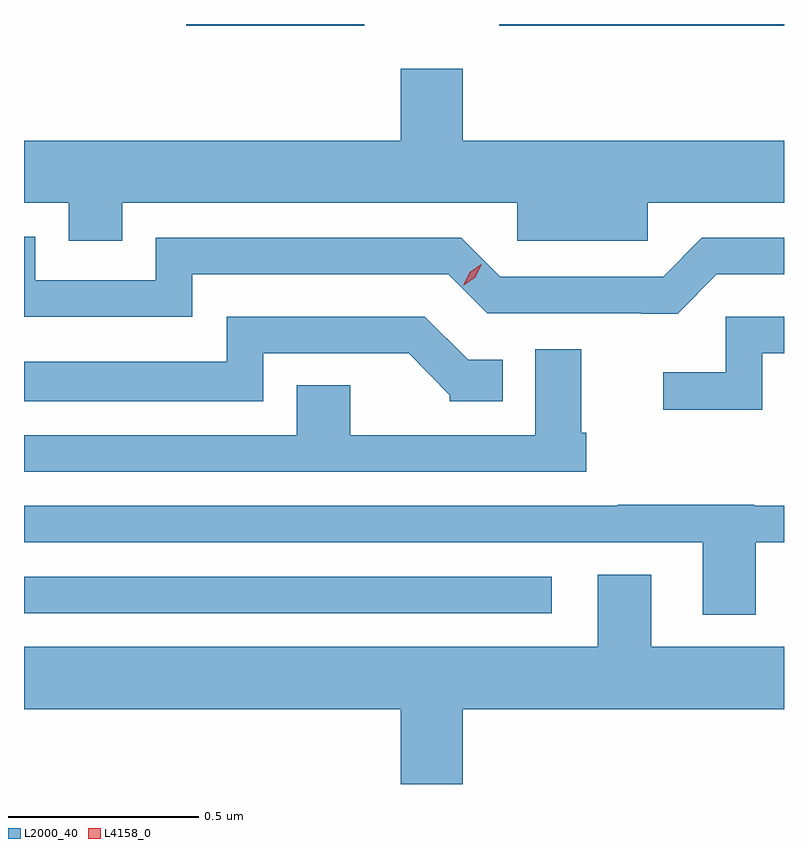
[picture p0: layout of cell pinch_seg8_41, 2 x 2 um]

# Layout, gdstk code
import gdstk
lib = gdstk.Library(unit=1e-6, precision=1e-09)
def R(c, l, rs):  # rectangles x0, y0, x1, y1
    for r in rs: c.add(gdstk.rectangle(r[:2], r[2:], *l))
def P(c, l, *ps):  # polygons
    for p in ps: c.add(gdstk.Polygon(p, *l))
L2000_40 = (2000, 40)
L4158_0 = (4158, 0)

pinch_seg8_41 = lib.new_cell('pinch_seg8_41')
R(pinch_seg8_41, L2000_40, [(967.213,1135.401,968.602,1135.497), (967.64,1136.946,968.108,1136.951), (968.464,1136.946,969.213,1136.951)])
P(pinch_seg8_41, L2000_40, [(967.471,1136.48),(968.511,1136.48),(968.511,1136.381),(968.854,1136.381),(968.854,1136.48),(969.213,1136.48),(969.213,1136.644),(968.368,1136.644),(968.368,1136.833),(968.204,1136.833),(968.204,1136.644),(967.213,1136.644),(967.213,1136.48),(967.331,1136.48),(967.331,1136.381),(967.471,1136.381)],
  [(967.656,1136.292),(968.33,1136.292),(968.432,1136.19),(968.837,1136.19),(968.837,1136.189),(968.933,1136.189),(969.036,1136.292),(969.213,1136.292),(969.213,1136.388),(968.997,1136.388),(968.895,1136.286),(968.466,1136.286),(968.364,1136.388),(967.56,1136.388),(967.56,1136.277),(967.242,1136.277),(967.242,1136.391),(967.213,1136.391),(967.213,1136.181),(967.656,1136.181)],
  [(969.156,1136.085),(969.213,1136.085),(969.213,1136.181),(969.06,1136.181),(969.06,1136.035),(968.895,1136.035),(968.895,1135.936),(969.156,1135.936)],
  [(967.842,1136.085),(968.12,1136.085),(968.12,1136.084),(968.225,1136.084),(968.334,1135.974),(968.334,1135.958),(968.473,1135.958),(968.473,1136.067),(968.382,1136.067),(968.268,1136.181),(967.746,1136.181),(967.746,1136.062),(967.213,1136.062),(967.213,1135.958),(967.842,1135.958)],
  [(968.693,1135.876),(968.68,1135.876),(968.68,1136.095),(968.558,1136.095),(968.558,1135.869),(968.071,1135.869),(968.071,1136),(967.931,1136),(967.931,1135.869),(967.213,1135.869),(967.213,1135.773),(968.693,1135.773)],
  [(969.139,1135.587),(969.213,1135.587),(969.213,1135.683),(969.135,1135.683),(969.135,1135.686),(968.776,1135.686),(968.776,1135.683),(967.213,1135.683),(967.213,1135.587),(968.999,1135.587),(968.999,1135.397),(969.139,1135.397)],
  [(968.368,1135.148),(969.213,1135.148),(969.213,1135.312),(968.863,1135.312),(968.863,1135.502),(968.723,1135.502),(968.723,1135.312),(967.213,1135.312),(967.213,1135.148),(968.204,1135.148),(968.204,1134.951),(968.368,1134.951)])
P(pinch_seg8_41, L4158_0, [(968.37,1136.264),(968.37,1136.265),(968.386,1136.298),(968.416,1136.319),(968.417,1136.319),(968.417,1136.319),(968.401,1136.285),(968.37,1136.264)])

lib.write_gds('pinch_seg8_41.gds')
